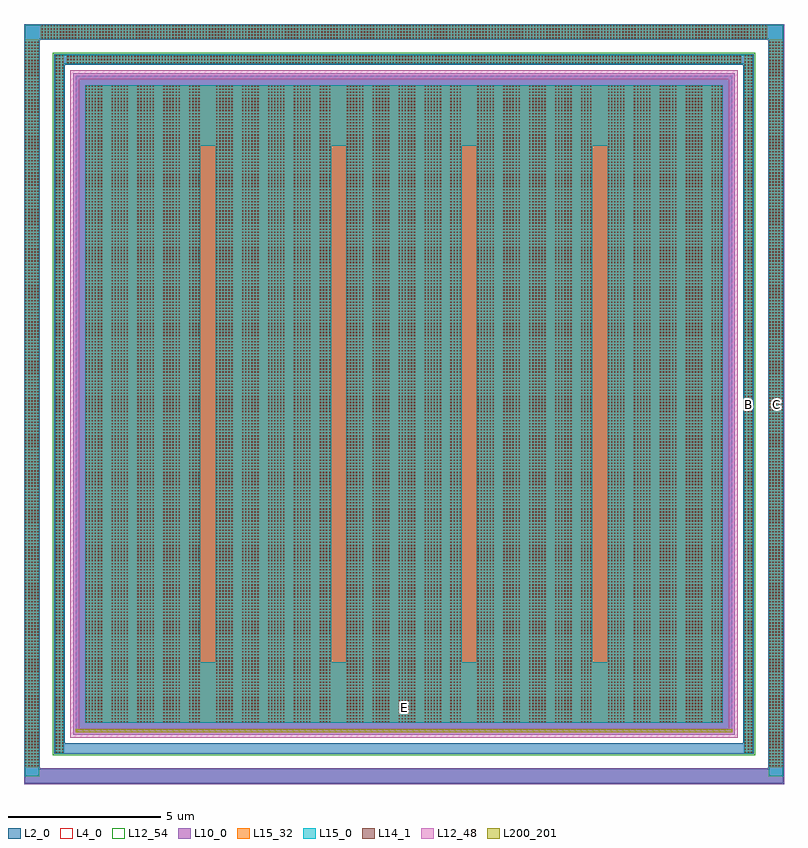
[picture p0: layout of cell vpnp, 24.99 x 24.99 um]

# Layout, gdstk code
import gdstk
lib = gdstk.Library(unit=1e-6, precision=1e-09)
def R(c, l, rs):  # rectangles x0, y0, x1, y1
    for r in rs: c.add(gdstk.rectangle(r[:2], r[2:], *l))
def A(c, l, x, y, w, h, nx, ny, dx, dy):  # array of equal rectangles
    R(c, l, [(x+i*dx, y+j*dy, x+i*dx+w, y+j*dy+h) for i in range(nx) for j in range(ny)])
L2_0 = (2, 0)
L4_0 = (4, 0)
L10_0 = (10, 0)
L12_48 = (12, 48)
L12_54 = (12, 54)
L14_1 = (14, 1)
L15_0 = (15, 0)
L15_32 = (15, 32)
L200_201 = (200, 201)

vpnp = lib.new_cell('vpnp')
R(vpnp, L2_0, [(-18.979,-11.009,5.973,-10.529), (-18.979,-10.529,-18.499,13.463), (5.493,-10.529,5.973,13.463), (-17.999,-10.029,4.993,-9.689), (-17.999,-9.689,-17.659,12.623), (4.653,-9.689,4.993,12.623), (-17.303,-9.333,4.297,12.267), (-17.999,12.623,4.993,12.963), (-18.979,13.463,5.973,13.943)])
R(vpnp, L4_0, [(-18.055,-10.085,5.049,13.019)])
R(vpnp, L10_0, [(-19,-11.03,5.994,-10.508), (-19,-10.508,-18.478,13.442), (5.472,-10.508,5.994,13.442), (-17.373,-9.403,4.367,12.337), (-19,13.442,5.994,13.964)])
R(vpnp, L12_48, [(-17.484,-9.514,4.478,-9.208), (-17.484,-9.208,-17.178,12.142), (4.172,-9.208,4.478,12.142), (-17.484,12.142,4.478,12.448)])
R(vpnp, L12_54, [(-18.055,-10.085,5.049,13.019)])
A(vpnp, L14_1, -18.959, -10.453, 0.04, 0.04, 5, 239, 0.1, 0.1)
A(vpnp, L14_1, 5.513, -10.453, 0.04, 0.04, 5, 239, 0.1, 0.1)
A(vpnp, L14_1, -17.949, -10.003, 0.04, 0.04, 3, 230, 0.1, 0.1)
A(vpnp, L14_1, 4.703, -10.003, 0.04, 0.04, 3, 230, 0.1, 0.1)
A(vpnp, L14_1, -16.973, -9.003, 0.04, 0.04, 6, 210, 0.1, 0.1)
A(vpnp, L14_1, -16.121, -9.003, 0.04, 0.04, 6, 210, 0.1, 0.1)
A(vpnp, L14_1, -15.269, -9.003, 0.04, 0.04, 6, 210, 0.1, 0.1)
A(vpnp, L14_1, -14.417, -9.003, 0.04, 0.04, 6, 210, 0.1, 0.1)
A(vpnp, L14_1, -13.565, -9.003, 0.04, 0.04, 4, 210, 0.1, 0.1)
A(vpnp, L14_1, -12.677, -9.003, 0.04, 0.04, 6, 210, 0.1, 0.1)
A(vpnp, L14_1, -11.825, -9.003, 0.04, 0.04, 6, 210, 0.1, 0.1)
A(vpnp, L14_1, -10.973, -9.003, 0.04, 0.04, 6, 210, 0.1, 0.1)
A(vpnp, L14_1, -10.121, -9.003, 0.04, 0.04, 6, 210, 0.1, 0.1)
A(vpnp, L14_1, -9.269, -9.003, 0.04, 0.04, 4, 210, 0.1, 0.1)
A(vpnp, L14_1, -8.382, -9.003, 0.04, 0.04, 6, 210, 0.1, 0.1)
A(vpnp, L14_1, -7.53, -9.003, 0.04, 0.04, 6, 210, 0.1, 0.1)
A(vpnp, L14_1, -6.678, -9.003, 0.04, 0.04, 6, 210, 0.1, 0.1)
A(vpnp, L14_1, -5.826, -9.003, 0.04, 0.04, 6, 210, 0.1, 0.1)
A(vpnp, L14_1, -4.974, -9.003, 0.04, 0.04, 4, 210, 0.1, 0.1)
A(vpnp, L14_1, -4.087, -9.003, 0.04, 0.04, 6, 210, 0.1, 0.1)
A(vpnp, L14_1, -3.235, -9.003, 0.04, 0.04, 6, 210, 0.1, 0.1)
A(vpnp, L14_1, -2.383, -9.003, 0.04, 0.04, 6, 210, 0.1, 0.1)
A(vpnp, L14_1, -1.531, -9.003, 0.04, 0.04, 6, 210, 0.1, 0.1)
A(vpnp, L14_1, -0.679, -9.003, 0.04, 0.04, 4, 210, 0.1, 0.1)
A(vpnp, L14_1, 0.208, -9.003, 0.04, 0.04, 6, 210, 0.1, 0.1)
A(vpnp, L14_1, 1.06, -9.003, 0.04, 0.04, 6, 210, 0.1, 0.1)
A(vpnp, L14_1, 1.912, -9.003, 0.04, 0.04, 6, 210, 0.1, 0.1)
A(vpnp, L14_1, 2.764, -9.003, 0.04, 0.04, 6, 210, 0.1, 0.1)
A(vpnp, L14_1, 3.616, -9.003, 0.04, 0.04, 4, 210, 0.1, 0.1)
A(vpnp, L14_1, -17.573, 12.673, 0.04, 0.04, 222, 3, 0.1, 0.1)
A(vpnp, L14_1, -18.423, 13.483, 0.04, 0.04, 239, 5, 0.1, 0.1)
A(vpnp, L15_0, -12.695, -7.021, 3.795, 16.976, 4, 1, 4.295, 0)
R(vpnp, L15_0, [(-18.977,-10.769,-18.501,13.941), (5.495,-10.769,5.971,13.941), (-17.967,-10.021,-17.691,12.955), (4.685,-10.021,4.961,12.955), (-16.991,-9.021,3.985,-7.021), (-16.991,-7.021,-13.196,9.955), (-16.991,9.955,3.985,11.955), (-17.691,12.655,4.685,12.955), (-18.501,13.465,5.495,13.941)])
R(vpnp, L15_32, [(-18.977,-10.471,-18.501,13.465), (5.495,-10.471,5.971,13.465), (-17.967,-10.021,-17.691,12.955), (4.685,-10.021,4.961,12.955), (-16.991,-9.021,3.985,11.955), (-17.591,12.655,4.585,12.931), (-18.441,13.465,5.435,13.941)])
R(vpnp, L200_201, [(-17.303,-9.333,4.297,-9.233)])
vpnp.add(gdstk.Label('E', (-6.503,-8.521), layer=15, texttype=20))
vpnp.add(gdstk.Label('B', (4.823,1.467), layer=15, texttype=20))
vpnp.add(gdstk.Label('C', (5.733,1.467), layer=15, texttype=20))

lib.write_gds('vpnp.gds')
